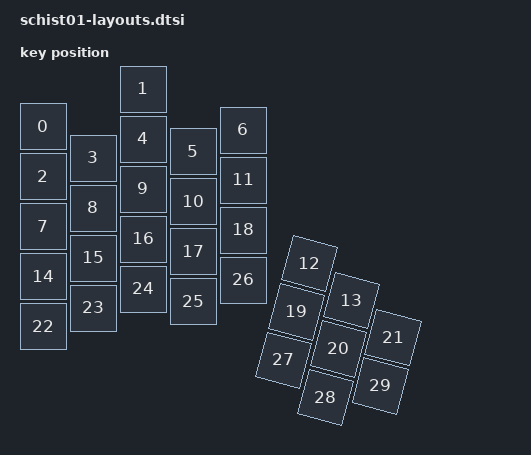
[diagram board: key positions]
#include <physical_layouts.dtsi>

/ {
    physical_layout0: physical_layout_0 {
        compatible = "zmk,physical-layout";
        display-name = "default_transform";

        kscan = <&kscan0>;
        transform = <&matrix_transform0>;

        keys  //                     w   h    x    y     rot    rx    ry
            = <&key_physical_attrs 100 100    0   75       0     0     0>
            , <&key_physical_attrs 100 100  200    0       0     0     0>
            , <&key_physical_attrs 100 100    0  175       0     0     0>
            , <&key_physical_attrs 100 100  100  138       0     0     0>
            , <&key_physical_attrs 100 100  200  100       0     0     0>
            , <&key_physical_attrs 100 100  300  125       0     0     0>
            , <&key_physical_attrs 100 100  400   82       0     0     0>
            , <&key_physical_attrs 100 100    0  275       0     0     0>
            , <&key_physical_attrs 100 100  100  238       0     0     0>
            , <&key_physical_attrs 100 100  200  200       0     0     0>
            , <&key_physical_attrs 100 100  300  225       0     0     0>
            , <&key_physical_attrs 100 100  400  182       0     0     0>
            , <&key_physical_attrs 100 100  500  200    1500     0   450>
            , <&key_physical_attrs 100 100  600  250    1500     0   450>
            , <&key_physical_attrs 100 100    0  375       0     0     0>
            , <&key_physical_attrs 100 100  100  338       0     0     0>
            , <&key_physical_attrs 100 100  200  300       0     0     0>
            , <&key_physical_attrs 100 100  300  325       0     0     0>
            , <&key_physical_attrs 100 100  400  282       0     0     0>
            , <&key_physical_attrs 100 100  500  300    1500     0   450>
            , <&key_physical_attrs 100 100  600  350    1500     0   450>
            , <&key_physical_attrs 100 100  700  300    1500     0   450>
            , <&key_physical_attrs 100 100    0  475       0     0     0>
            , <&key_physical_attrs 100 100  100  438       0     0     0>
            , <&key_physical_attrs 100 100  200  400       0     0     0>
            , <&key_physical_attrs 100 100  300  425       0     0     0>
            , <&key_physical_attrs 100 100  400  382       0     0     0>
            , <&key_physical_attrs 100 100  500  400    1500     0   450>
            , <&key_physical_attrs 100 100  600  450    1500     0   450>
            , <&key_physical_attrs 100 100  700  400    1500     0   450>
            ;
    };
};
